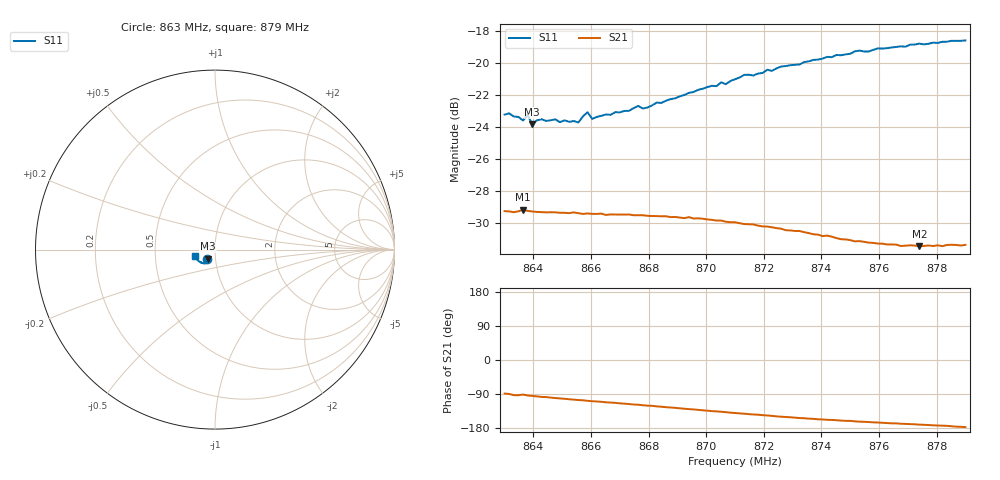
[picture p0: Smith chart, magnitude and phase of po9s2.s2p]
# HZ S RI R 50
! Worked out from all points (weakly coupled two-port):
!   101 points, 863 MHz to 879 MHz, reference 50 ohm
!   highest |S21| = -29.15 dB at 863.64 MHz (marker M1); lowest = -31.4 dB at 877.4 MHz (marker M2)
!   lowest |S11| = -23.8 dB at 863.96 MHz (marker M3), VSWR 1.14, Z = 46 - j4.73 ohm
!   |S11| at or under -10 dB: start of sweep to end of sweep
!   S12 and S22 are empty: the file has one direction only
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8.63e8  -0.0437 -0.0535  0.00087 -0.0345  0 0  0 0
8.6316e8  -0.0444 -0.0538  0.000215 -0.0345  0 0  0 0
8.6364e8  -0.0383 -0.054  -0.000679 -0.0349  0 0  0 0
8.638e8  -0.0426 -0.0542  -0.0022 -0.0345  0 0  0 0
8.6396e8  -0.0391 -0.0512  -0.00285 -0.0343  0 0  0 0
8.6428e8  -0.0377 -0.0552  -0.00445 -0.034  0 0  0 0
8.6556e8  -0.0347 -0.0554  -0.00922 -0.0328  0 0  0 0
8.6572e8  -0.0346 -0.0588  -0.00948 -0.0325  0 0  0 0
8.6588e8  -0.0386 -0.0588  -0.0104 -0.0323  0 0  0 0
8.6604e8  -0.0335 -0.058  -0.0109 -0.0321  0 0  0 0
8.6732e8  -0.0342 -0.0622  -0.0149 -0.0303  0 0  0 0
8.6764e8  -0.035 -0.0647  -0.0157 -0.0296  0 0  0 0
8.678e8  -0.0343 -0.0635  -0.0165 -0.0292  0 0  0 0
8.6844e8  -0.0363 -0.0658  -0.0183 -0.0278  0 0  0 0
8.71e8  -0.0482 -0.0749  -0.0244 -0.0206  0 0  0 0
8.7132e8  -0.0504 -0.0769  -0.0247 -0.0195  0 0  0 0
8.7164e8  -0.0512 -0.0759  -0.0253 -0.0186  0 0  0 0
8.7212e8  -0.0569 -0.0766  -0.0257 -0.0171  0 0  0 0
8.7372e8  -0.0692 -0.0755  -0.0266 -0.0122  0 0  0 0
8.7644e8  -0.0935 -0.0616  -0.0265 -0.00605  0 0  0 0
8.774e8  -0.1014 -0.0545  -0.0265 -0.0044  0 0  0 0
8.79e8  -0.1115 -0.038  -0.0271 -0.00141  0 0  0 0
